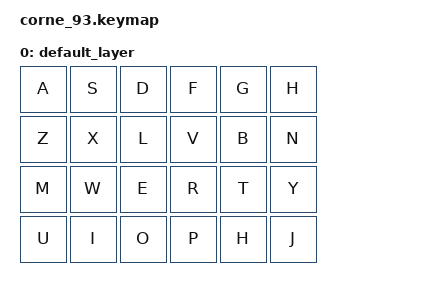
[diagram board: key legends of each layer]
// This file was generated from a template. Edit it to match your keyboard.
// See https://zmk.dev/docs/development/hardware-integration/new-shield for more instructions.

#include <behaviors.dtsi>
#include <dt-bindings/zmk/keys.h>

/ {
    // Define a default keymap here.
    // See https://zmk.dev/docs/development/hardware-integration/new-shield#default-keymap.
    keymap {
        compatible = "zmk,keymap";

        /* default_layer { */
        /*     bindings = < */
        /*         &kp N1 &kp N2    &kp N3 &kp N4 */
        /*         &kp A  &kp B     &kp C  &kp D */
        /*     >; */
        /* }; */
        default_layer {
            bindings = <
                &kp A &kp S &kp D &kp F &kp G &kp H
                &kp Z &kp X &kp L &kp V &kp B &kp N
                &kp M &kp W &kp E &kp R &kp T &kp Y
                &kp U &kp I &kp O &kp P &kp H &kp J
            >;
        };
    };
};
